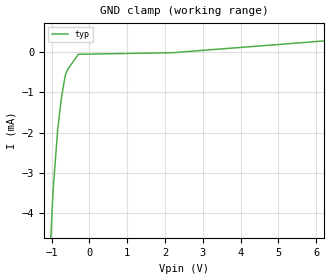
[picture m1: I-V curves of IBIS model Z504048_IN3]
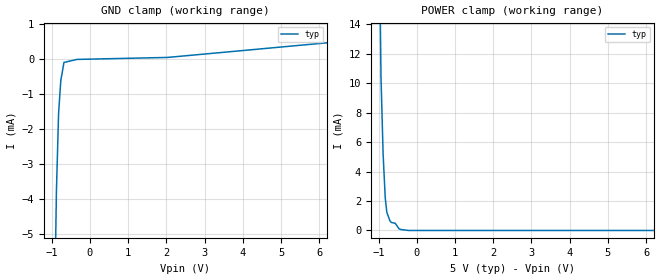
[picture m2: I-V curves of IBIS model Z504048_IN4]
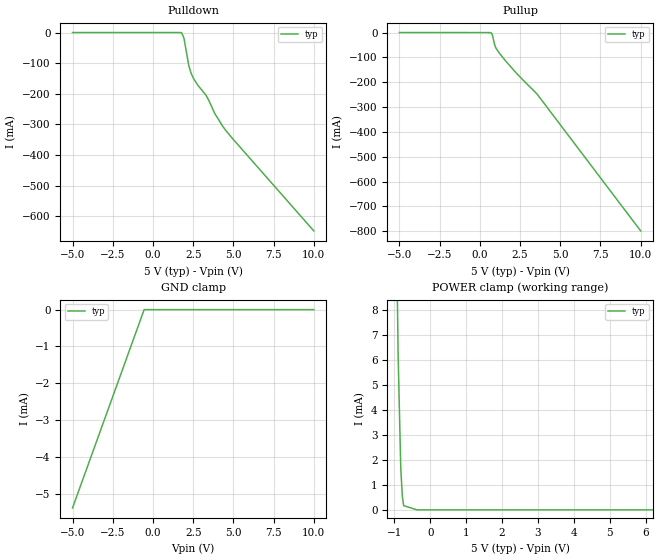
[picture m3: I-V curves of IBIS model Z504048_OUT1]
| YOU ARE ONLY AUTHORIZED TO USE THIS SOFTWARE
| ACCORDING TO LICENSOR'S LICENSE RESTRICTIONS.
[IBIS Ver] 3.1
[File Name] mc10sx1189.ibs
[File Rev] 2.0
[Source] Measured and created by ICX Technology
[Date] Friday 7/14/00 9:07:50 AM
[Copyright]
| (C) COPYRIGHT 1993-2000
| MENTOR GRAPHICS CORPORATION
| ICX STANDARD LIBRARY, ICX PROJECT MODELING,
| ICX CUSTOM MODELING, ICX VENDOR MODEL
| ALL RIGHTS RESERVED.
| THE FOLLOWING ARE TRADEMARKS OR SERVICE MARKS OF
| MENTOR GRAPHICS CORPORATION:ICX (R), ICX STANDARD
| LIBRARY(R), ICX PROJECT MODELING(R), ICX CUSTOM
| MODELING(R), qualityIBIS(TM), MODELVIEWER(TM),
| AND MODELEDITOR(TM)
| ALL COPIES OF SOFTWARE, INCLUDING BUT NOT LIMITED TO
| ANY MODIFICATIONS, ENHANCEMENTS OR DERIVATIVE WORKS,
| MUST CONTAIN ALL MENTOR GRAPHICS CORPORATION'S
| NOTICES AND LEGENDS, INCLUDING THOSE EMBEDDED IN
| SOFTWARE AND THOSE AFFIXED TO SOFTWARE MEDIUM
| AND CONTAINER, AS RECEIVED FROM MENTOR GRAPHICS
| CORPORATION.
|  ZAP Model Builder 2.7
[Component] MC10SX1189
[Manufacturer] OnSemiconductor
[Package]
| variable   typ   min   max
R_pkg  .156ohms NA NA
L_pkg  3.148nH NA NA
C_pkg  .388pF NA NA
[Pin] signal_name  model_name  R_pin  L_pin C_pin
1 QR Z504048_OUT1 .162 3.798n .418p
2 _QR Z504048_OUT1 .158 3.358n .398p
3 VCC POWER .154 2.928n .378p
4 NC NC .15 2.508n .358p
5 VCC POWER .15 2.508n .358p
6 QT Z504048_OUT2 .154 2.928n .378p
7 _QT Z504048_OUT2 .158 3.358n .398p
8 VCC POWER .162 3.798n .418p
9 SEL Z504048_IN3 .162 3.798n .418p
10 _DT Z504048_IN4 .158 3.358n .398p
11 DT Z504048_IN4 .154 2.928n .378p
12 VBB POWER .15 2.508n .358p
13 GND GND .15 2.508n .358p
14 _DR Z504048_IN4 .154 2.928n .378p
15 DR Z504048_IN4 .158 3.358n .398p
16 VCC POWER .162 3.798n .418p
| Models and submodels in the file (4): Z504048_IN3 (Input), Z504048_IN4 (Input_ECL), Z504048_OUT1 (Output_ECL), Z504048_OUT2 (Output_ECL)
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| (C) COPYRIGHT 1993-2000
| MENTOR GRAPHICS CORPORATION
| ICX STANDARD LIBRARY, ICX PROJECT MODELING,
| ICX CUSTOM MODELING, ICX VENDOR MODEL
| ALL RIGHTS RESERVED.
| THE FOLLOWING ARE TRADEMARKS OR SERVICE MARKS OF
| MENTOR GRAPHICS CORPORATION:ICX (R), ICX STANDARD
| LIBRARY(R), ICX PROJECT MODELING(R), ICX CUSTOM
| MODELING(R), qualityIBIS(TM), MODELVIEWER(TM),
| AND MODELEDITOR(TM)
| ALL COPIES OF SOFTWARE, INCLUDING BUT NOT LIMITED TO
| ANY MODIFICATIONS, ENHANCEMENTS OR DERIVATIVE WORKS,
| MUST CONTAIN ALL MENTOR GRAPHICS CORPORATION'S
| NOTICES AND LEGENDS, INCLUDING THOSE EMBEDDED IN
| SOFTWARE AND THOSE AFFIXED TO SOFTWARE MEDIUM
| AND CONTAINER, AS RECEIVED FROM MENTOR GRAPHICS
| CORPORATION.
| Model Application Version 1.89 2/18/99.
[Model] Z504048_IN3
Model_type Input
Vinl = 800.0mV
Vinh = 2.000V
C_comp 4.000pF NA NA
| variable typ   min   max
[Voltage Range] 5.000V NA NA
[GND Clamp Reference] 0.000V NA NA
[POWER Clamp Reference] 5.000V NA NA
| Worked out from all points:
|   GND clamp passes 1 mA (typ) near -0.71 V on its own axis
[GND Clamp]
-5V       -227mA     NA         NA
-1.036V   -4.911mA   NA         NA
-959.7mV  -3.419mA   NA         NA
-838.8mV  -1.927mA   NA         NA
-742.2mV  -1.152mA   NA         NA
-639mV    -582.4uA   NA         NA
-581mV    -444uA     NA         NA
-290.5mV  -57.93uA   NA         NA
2.209V    -19.11uA   NA         NA
10V       549.4uA    NA         NA
[POWER Clamp]
-5V       0A         NA         NA
10V       0A         NA         NA
| (C) COPYRIGHT 1993-2000
| MENTOR GRAPHICS CORPORATION
| ICX STANDARD LIBRARY, ICX PROJECT MODELING,
| ICX CUSTOM MODELING, ICX VENDOR MODEL
| ALL RIGHTS RESERVED.
| THE FOLLOWING ARE TRADEMARKS OR SERVICE MARKS OF
| MENTOR GRAPHICS CORPORATION:ICX (R), ICX STANDARD
| LIBRARY(R), ICX PROJECT MODELING(R), ICX CUSTOM
| MODELING(R), qualityIBIS(TM), MODELVIEWER(TM),
| AND MODELEDITOR(TM)
| ALL COPIES OF SOFTWARE, INCLUDING BUT NOT LIMITED TO
| ANY MODIFICATIONS, ENHANCEMENTS OR DERIVATIVE WORKS,
| MUST CONTAIN ALL MENTOR GRAPHICS CORPORATION'S
| NOTICES AND LEGENDS, INCLUDING THOSE EMBEDDED IN
| SOFTWARE AND THOSE AFFIXED TO SOFTWARE MEDIUM
| AND CONTAINER, AS RECEIVED FROM MENTOR GRAPHICS
| CORPORATION.
| Model Application Version 1.89 2/18/99.
[Model] Z504048_IN4
Model_type Input_ECL
Vinl = 3.520V
Vinh = 3.870V
C_comp 4.000pF NA NA
| variable typ   min   max
[Voltage Range] 5.000V NA NA
[GND Clamp Reference] 0.000V NA NA
[POWER Clamp Reference] 5.000V NA NA
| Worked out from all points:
|   GND clamp passes 1 mA (typ) near -0.78 V on its own axis
|   POWER clamp passes 1 mA (typ) near -0.75 V on its own axis
[GND Clamp]
-5V       -501.4mA   NA         NA
-1.137V   -25.82mA   NA         NA
-1.009V   -13.22mA   NA         NA
-875.9mV  -3.801mA   NA         NA
-819.5mV  -1.568mA   NA         NA
-761.4mV  -626uA     NA         NA
-678.7mV  -105.4uA   NA         NA
-339.3mV  -18.3uA    NA         NA
2.032V    38.06uA    NA         NA
10V       837.2uA    NA         NA
[POWER Clamp]
-5V       1.864A     NA         NA
-1.019V   28.21mA    NA         NA
-936mV    10.45mA    NA         NA
-881mV    5.216mA    NA         NA
-825mV    2.215mA    NA         NA
-783mV    1.229mA    NA         NA
-704mV    663.6uA    NA         NA
-665mV    544.2uA    NA         NA
-563mV    489.3uA    NA         NA
-466mV    122uA      NA         NA
-426mV    69.33uA    NA         NA
10V       0A         NA         NA
| (C) COPYRIGHT 1993-2000
| MENTOR GRAPHICS CORPORATION
| ICX STANDARD LIBRARY, ICX PROJECT MODELING,
| ICX CUSTOM MODELING, ICX VENDOR MODEL
| ALL RIGHTS RESERVED.
| THE FOLLOWING ARE TRADEMARKS OR SERVICE MARKS OF
| MENTOR GRAPHICS CORPORATION:ICX (R), ICX STANDARD
| LIBRARY(R), ICX PROJECT MODELING(R), ICX CUSTOM
| MODELING(R), qualityIBIS(TM), MODELVIEWER(TM),
| AND MODELEDITOR(TM)
| ALL COPIES OF SOFTWARE, INCLUDING BUT NOT LIMITED TO
| ANY MODIFICATIONS, ENHANCEMENTS OR DERIVATIVE WORKS,
| MUST CONTAIN ALL MENTOR GRAPHICS CORPORATION'S
| NOTICES AND LEGENDS, INCLUDING THOSE EMBEDDED IN
| SOFTWARE AND THOSE AFFIXED TO SOFTWARE MEDIUM
| AND CONTAINER, AS RECEIVED FROM MENTOR GRAPHICS
| CORPORATION.
| Model Application Version 1.89 2/18/99.
[Model] Z504048_OUT1
Model_type Output_ECL
Vref=3.000V
Rref=50.00ohms
Cref=0.000F
Vmeas=3.700V
C_comp 8.000pF NA NA
| variable typ   min   max
[Voltage Range] 5.000V NA NA
[POWER Clamp Reference] 5.000V NA NA
[Pullup Reference] 5.000V NA NA
[Pulldown Reference] 5.000V NA NA
[GND Clamp Reference] 0.000V NA NA
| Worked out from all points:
|   POWER clamp passes 1 mA (typ) near -0.80 V on its own axis
[GND Clamp]
-5V       -5.389mA   NA         NA
-546.5mV  0A         NA         NA
10V       0A         NA         NA
[Pulldown]
-5V       273.7uA    NA         NA
1.786V    -437.6uA   NA         NA
1.928V    -18.15mA   NA         NA
2.229V    -107.3mA   NA         NA
2.365V    -131.6mA   NA         NA
2.509V    -148.9mA   NA         NA
2.803V    -172.7mA   NA         NA
3.331V    -207.6mA   NA         NA
3.852V    -265.1mA   NA         NA
4.348V    -306.7mA   NA         NA
4.873V    -341.7mA   NA         NA
10V       -648mA     NA         NA
[Pullup]
-5V       505.1uA    NA         NA
720mV     -2.034mA   NA         NA
788mV     -11.24mA   NA         NA
912mV     -45.73mA   NA         NA
961mV     -55.75mA   NA         NA
1.175V    -79.18mA   NA         NA
2.178V    -156.3mA   NA         NA
3.589V    -250mA     NA         NA
10V       -798.8mA   NA         NA
[POWER Clamp]
-5V       1.55A      NA         NA
-1.23V    74.32mA    NA         NA
-1.125V   39.73mA    NA         NA
-1.026V   20.09mA    NA         NA
-899mV    6.23mA     NA         NA
-826mV    1.706mA    NA         NA
-782mV    554.5uA    NA         NA
-745mV    169.2uA    NA         NA
-372.5mV  0A         NA         NA
10V       0A         NA         NA
[Ramp]
| variable typ min max
dV/dt_r 643.6m/111.4p NA NA
dV/dt_f 643.6m/166.2p NA NA
R_load = 500.0Ohms
